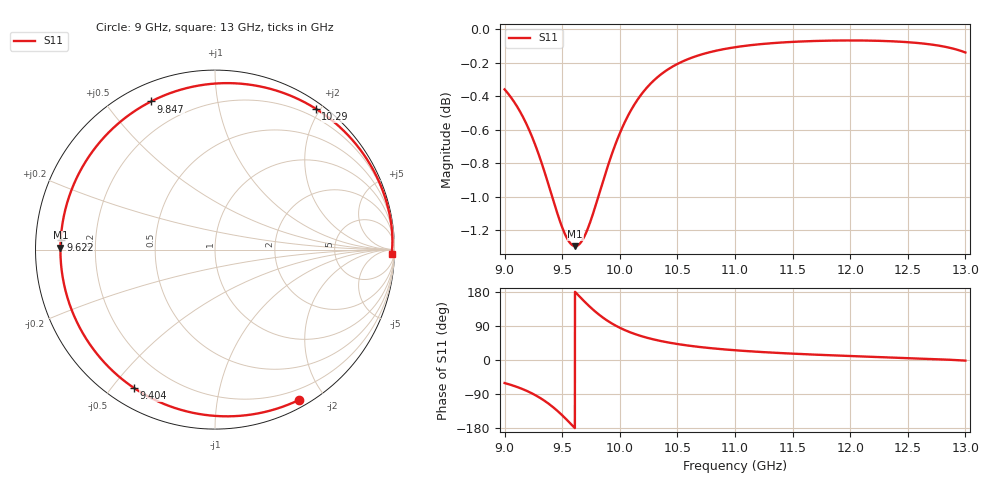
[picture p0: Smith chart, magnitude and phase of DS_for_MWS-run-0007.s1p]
! TOUCHSTONE file generated by CST DESIGN STUDIO
! Date and time: Tue Feb  4 18:10:21 2025
! Project name: C:\Work\MatlabApps\UnitCellOptimizationMatlab\CST\unitcell.cst
! Tree item: Tasks\Sweep1\SPara1\S-Parameters
! Header version: 2024
! Port assignment regex: !\s*Touchstone port\s*([0-9]+)\s*=\s*(CST MWS port|CST DES external port|CST DES block port)\s*(.+)\s* \(\"(.*)\"\)(\s*mode\s*([0-9]+))?.*
! Touchstone port assignment:
! Touchstone port 1 = CST DES external port 1 ("")
# GHz S MA R 50
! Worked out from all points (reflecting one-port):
!   4001 points, 9 GHz to 13 GHz, reference 50 ohm
!   lowest |S11| = -1.3 dB at 9.613 GHz (marker M1), VSWR 13.42, Z = 3.73 + j0.298 ohm
!   phase of S11 starts at -61 deg and turns -301 deg over the sweep
!   S11 on the Smith chart (normalised r, x): 9 GHz: 0.08, -1.70; 9.404 GHz: 0.07, -0.57; 9.622 GHz: 0.07, +0.03; 9.847 GHz: 0.08, +0.66; 10.29 GHz: 0.08, +1.94; 13 GHz: 31, -54
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9  0.9595 -60.8
9.052  0.9545 -65.4
9.124  0.9462 -73.0
9.248  0.9269 -89.7
9.331  0.91 -104.5
9.404  0.8932 -120.4
9.452  0.8823 -132.5
9.5  0.8725 -145.9
9.559  0.8641 -163.7
9.613  0.8613 179.3
9.622  0.8614 176.5
9.679  0.8654 158.6
9.742  0.8755 140.0
9.794  0.8867 126.0
9.847  0.899 113.3
9.918  0.9149 98.8
10  0.9309 85.1
10.067  0.9416 75.9
10.137  0.9508 67.9
10.211  0.9585 60.8
10.292  0.9651 54.4
10.5  0.9764 42.2
10.72  0.983 33.4
11  0.9877 25.7
11.5  0.9913 16.7
12  0.9923 10.5
12.5  0.9911 5.1
13  0.9841 -1.6
